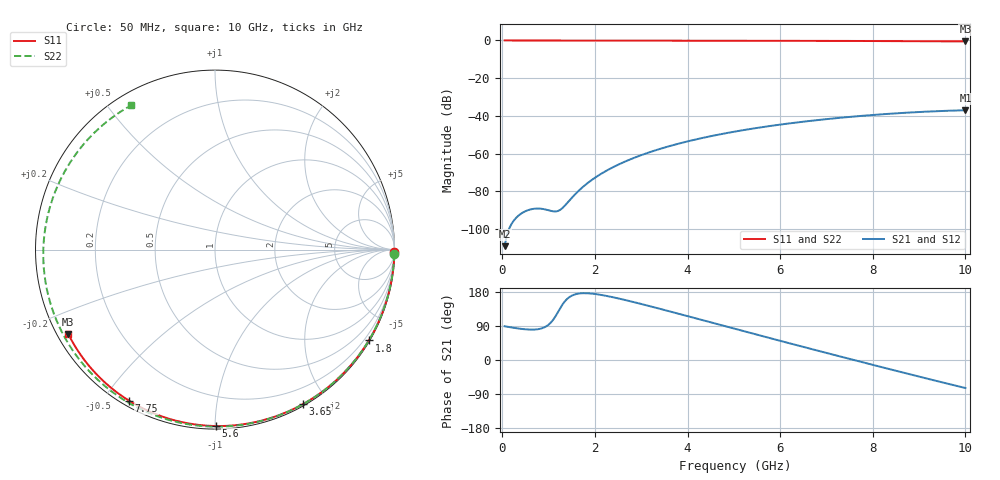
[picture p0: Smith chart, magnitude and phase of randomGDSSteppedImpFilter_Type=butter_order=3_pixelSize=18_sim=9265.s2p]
! freq	dB(S11)	phase(S11)	dB(S12)	phase(S12)
!  dB(S21)	phase(S21)	dB(S22)	phase(S22)
!S-par simulation data
#  GHz  S  DB  R 50
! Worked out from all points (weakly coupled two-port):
!   200 points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, 50 MHz to 10 GHz, reference 50 ohm
!   highest |S21| = -37.01 dB at 10 GHz (marker M1); lowest = -109.1 dB at 50 MHz (marker M2)
!   lowest |S11| = -0.5 dB at 10 GHz (marker M3), VSWR 34.09, Z = 1.57 - j13.3 ohm
!   |S11| at or under -10 dB: nowhere
!   |S22| runs from -0.6 to 0.0 dB; largest |S21 - S12| = 0
!   S11 on the Smith chart (normalised r, x): 50 MHz: open; 1.8 GHz: 0.03, -3.66; 3.65 GHz: 0.02, -1.72; 5.6 GHz: 0.02, -1.01; 7.75 GHz: 0.02, -0.58; 10 GHz: 0.03, -0.27
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0.05  -0.00 -0.9  -109.10 89.1  -109.10 89.1  -0.00 -1.3
0.8  -0.02 -13.7  -89.16 81.9  -89.16 81.9  -0.03 -20.9
1.6  -0.03 -27.2  -80.89 174.1  -80.89 174.1  -0.05 -41.4
1.65  -0.04 -28.1  -79.69 175.3  -79.69 175.3  -0.05 -42.7
1.75  -0.04 -29.7  -77.48 176.3  -77.48 176.3  -0.06 -45.2
1.8  -0.04 -30.6  -76.45 176.3  -76.45 176.3  -0.06 -46.5
2.1  -0.05 -35.5  -71.23 172.4  -71.23 172.4  -0.07 -53.9
2.45  -0.05 -41.3  -66.50 164.0  -66.50 164.0  -0.08 -62.4
2.9  -0.06 -48.6  -61.74 150.9  -61.74 150.9  -0.09 -73.2
3.4  -0.08 -56.5  -57.55 135.2  -57.55 135.2  -0.11 -84.8
3.65  -0.08 -60.4  -55.76 127.2  -55.76 127.2  -0.12 -90.5
4.35  -0.10 -71.2  -51.55 104.3  -51.55 104.3  -0.15 -106.2
5.05  -0.13 -81.6  -48.20 81.4  -48.20 81.4  -0.18 -121.5
5.6  -0.15 -89.6  -46.02 63.5  -46.02 63.5  -0.22 -133.3
6.15  -0.17 -97.5  -44.14 45.8  -44.14 45.8  -0.25 -145.1
6.7  -0.20 -105.2  -42.51 28.2  -42.51 28.2  -0.29 -157.0
7.25  -0.24 -112.7  -41.11 10.7  -41.11 10.7  -0.34 -169.2
7.75  -0.28 -119.5  -40.01 -5.0  -40.01 -5.0  -0.39 179.4
8.35  -0.33 -127.7  -38.90 -23.7  -38.90 -23.7  -0.45 165.0
8.8  -0.37 -133.7  -38.21 -37.7  -38.21 -37.7  -0.50 153.7
9.2  -0.41 -139.1  -37.71 -49.9  -37.71 -49.9  -0.55 143.1
10  -0.51 -150.1  -37.01 -73.9  -37.01 -73.9  -0.64 120.1
